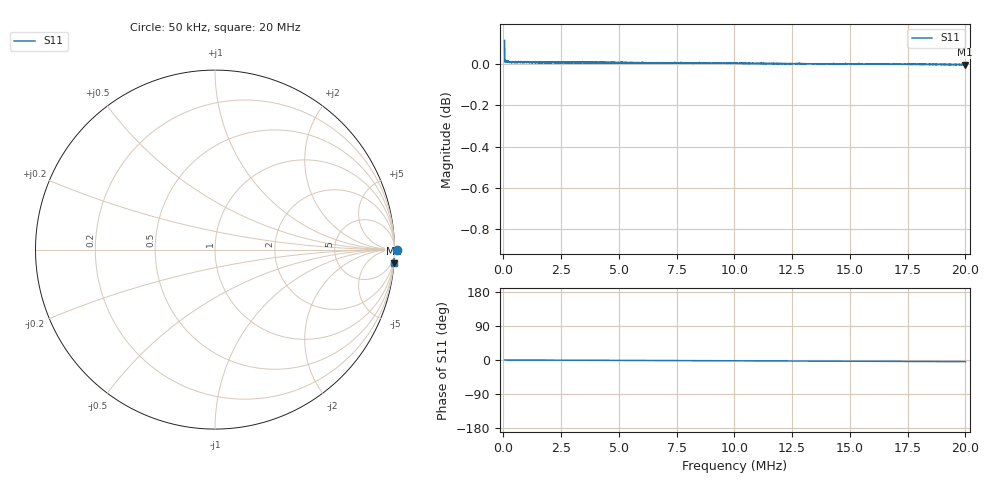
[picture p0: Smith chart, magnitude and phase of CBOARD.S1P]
!Keysight Technologies,E5063A,MY54100949,A.07.30
!Date: Wed Nov 26 00:53:34 2025
!Data & Calibration Information:
!Freq	S11:SOLT1(ON)
# Hz S RI R 50
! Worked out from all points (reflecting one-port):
!   10001 points, 50 kHz to 20 MHz, reference 50 ohm
!   lowest |S11| = 0.0 dB at 19.99 MHz (marker M1)
!   phase of S11 starts at 0 deg and turns -4 deg over the sweep
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50000  1.013 0.000131
151745  1.001 -0.00122
175685  1.002 -0.000997
217580  1.002 -0.00123
285410  1.001 -0.00118
423065  1.001 -0.00151
873935  1.001 -0.00279
1001615  1.001 -0.0033
1468445  1.001 -0.00485
1669940  1.001 -0.00577
2013080  1.001 -0.00676
2150735  1.001 -0.00742
2324300  1.001 -0.0079
2543750  1.001 -0.00874
2749235  1.001 -0.00954
3389630  1.001 -0.012
4002095  1.001 -0.0144
5037500  1.001 -0.0182
7531250  1 -0.0276
1.0025e7  0.9999 -0.0372
1.251875e7  0.9993 -0.0468
1.288384e7  0.9992 -0.0482
1.312922e7  0.9991 -0.0492
1.50125e7  0.9986 -0.0563
1.750625e7  0.9978 -0.0659
1.988828e7  0.997 -0.0749
1.998604e7  0.9969 -0.0753
2e7  0.997 -0.0753
